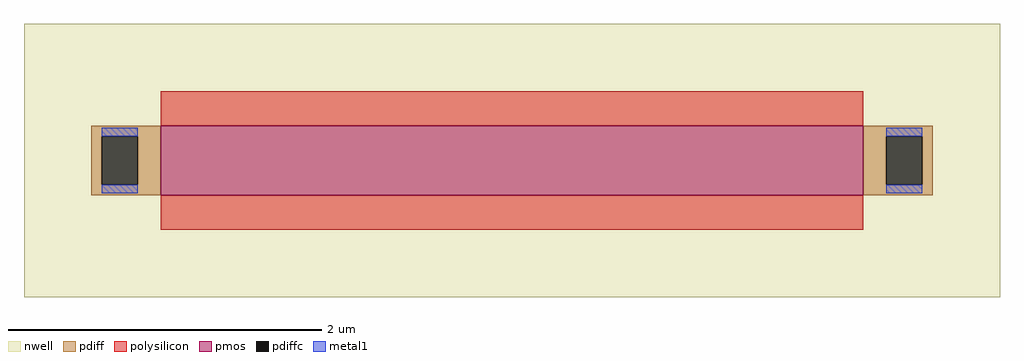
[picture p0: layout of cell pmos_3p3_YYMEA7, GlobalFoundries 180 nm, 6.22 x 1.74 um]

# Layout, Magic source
magic
tech gf180mcuC
magscale 1 10
<< nwell >>
rect -622 -174 622 174
<< pmos >>
rect -448 -44 448 44
<< pdiff >>
rect -536 31 -448 44
rect -536 -31 -523 31
rect -477 -31 -448 31
rect -536 -44 -448 -31
rect 448 31 536 44
rect 448 -31 477 31
rect 523 -31 536 31
rect 448 -44 536 -31
<< pdiffc >>
rect -523 -31 -477 31
rect 477 -31 523 31
<< polysilicon >>
rect -448 44 448 88
rect -448 -88 448 -44
<< metal1 >>
rect -523 31 -477 42
rect -523 -42 -477 -31
rect 477 31 523 42
rect 477 -42 523 -31
<< properties >>
string gencell pmos_3p3
string library gf180mcu
string parameters w 0.440 l 4.48 m 1 nf 1 diffcov 100 polycov 100 guard 0 glc 0 grc 0 gtc 0 gbc 0 tbcov 100 rlcov 100 topc 0 botc 0 poverlap 0 doverlap 1 lmin 0.28 wmin 0.22 full_metal 0 compatible {pmos_3p3 pmos_6p0}
<< end >>
